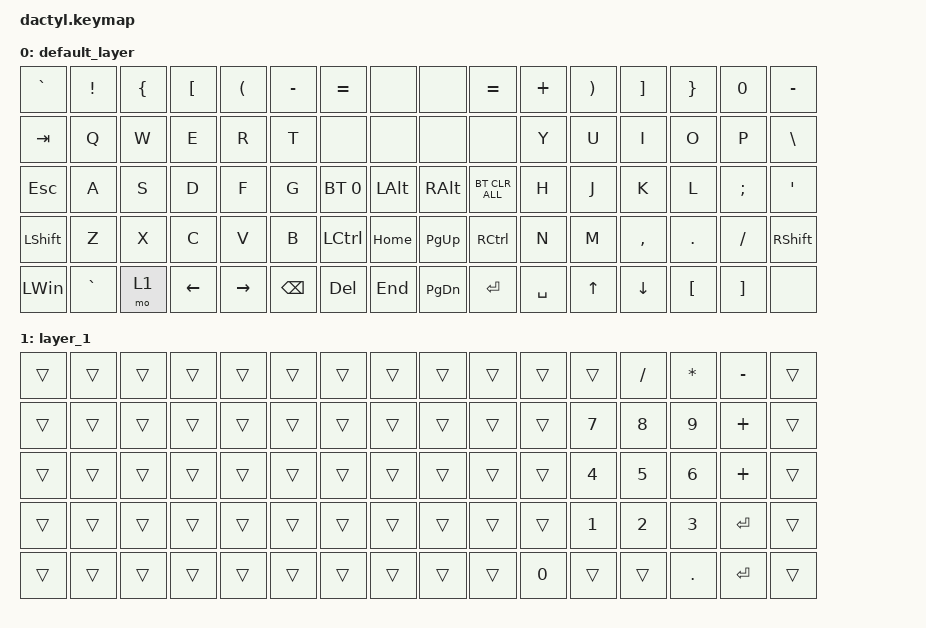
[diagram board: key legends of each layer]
/*
 * Copyright (c) 2020 The ZMK Contributors
 *
 * SPDX-License-Identifier: MIT
 */

#include <behaviors.dtsi>
#include <dt-bindings/zmk/bt.h>
#include <dt-bindings/zmk/keys.h>

&mt {
    //  flavor = "tap-preferred";
    // tapping-term-ms = <200>;
};

/ {
    keymap {
        compatible = "zmk,keymap";

        // Default Layer

        default_layer {
            bindings = <
&kp GRAVE  &kp EXCLAMATION  &kp LEFT_BRACE  &kp LEFT_BRACKET  &kp LEFT_PARENTHESIS  &kp MINUS  &kp EQUAL     &none       &none          &kp EQUAL       &kp PLUS   &kp RIGHT_PARENTHESIS  &kp RIGHT_BRACKET  &kp RIGHT_BRACE  &kp N0    &kp MINUS
&kp TAB    &kp Q            &kp W           &kp E             &kp R                 &kp T      &none         &none       &none          &none           &kp Y      &kp U                  &kp I              &kp O            &kp P     &kp BSLH
&kp ESC    &kp A            &kp S           &kp D             &kp F                 &kp G      &bt BT_SEL 0  &kp LALT    &kp RALT       &bt BT_CLR_ALL  &kp H      &kp J                  &kp K              &kp L            &kp SEMI  &kp APOS
&kp LSHFT  &kp Z            &kp X           &kp C             &kp V                 &kp B      &kp LCTRL     &kp HOME    &kp PAGE_UP    &kp RCTRL       &kp N      &kp M                  &kp COMMA          &kp DOT          &kp FSLH  &kp RSHFT
&kp LWIN   &kp GRAVE        &mo 1           &kp LEFT          &kp RIGHT             &kp BSPC   &kp DEL       &kp END     &kp PAGE_DOWN  &kp ENTER       &kp SPACE  &kp UP_ARROW           &kp DOWN_ARROW     &kp LBKT         &kp RBKT  &none
            >;
        };

        layer_1 {
            bindings = <
&trans  &trans  &trans  &trans  &trans  &trans  &trans  &trans    &trans  &trans  &trans  &trans  &kp FSLH  &kp STAR  &kp MINUS  &trans
&trans  &trans  &trans  &trans  &trans  &trans  &trans  &trans    &trans  &trans  &trans  &kp N7  &kp N8    &kp N9    &kp PLUS   &trans
&trans  &trans  &trans  &trans  &trans  &trans  &trans  &trans    &trans  &trans  &trans  &kp N4  &kp N5    &kp N6    &kp PLUS   &trans
&trans  &trans  &trans  &trans  &trans  &trans  &trans  &trans    &trans  &trans  &trans  &kp N1  &kp N2    &kp N3    &kp ENTER  &trans
&trans  &trans  &trans  &trans  &trans  &trans  &trans  &trans    &trans  &trans  &kp N0  &trans  &trans    &kp DOT   &kp ENTER  &trans
            >;
        };
    };
};
